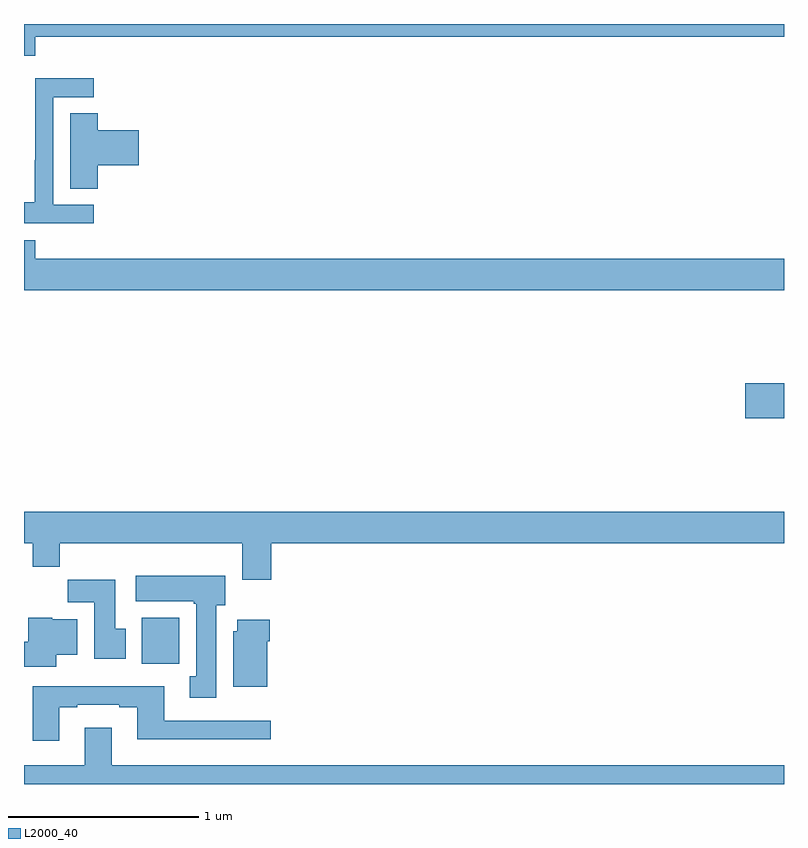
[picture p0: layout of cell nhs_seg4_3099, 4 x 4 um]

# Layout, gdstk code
import gdstk
lib = gdstk.Library(unit=1e-6, precision=1e-09)
def R(c, l, rs):  # rectangles x0, y0, x1, y1
    for r in rs: c.add(gdstk.rectangle(r[:2], r[2:], *l))
def P(c, l, *ps):  # polygons
    for p in ps: c.add(gdstk.Polygon(p, *l))
L2000_40 = (2000, 40)

nhs_seg4_3099 = lib.new_cell('nhs_seg4_3099')
R(nhs_seg4_3099, L2000_40, [(275.621,781.532,275.818,781.774), (278.796,782.825,279,783.008)])
P(nhs_seg4_3099, L2000_40, [(275.06,784.832),(279,784.832),(279,784.9),(275,784.9),(275,784.733),(275.06,784.733)],
  [(275.368,783.948),(275.154,783.948),(275.154,784.515),(275.368,784.515),(275.368,784.614),(275.058,784.614),(275.058,784.184),(275.056,784.184),(275.056,783.961),(275,783.961),(275,783.852),(275.368,783.852)],
  [(275.387,784.157),(275.605,784.157),(275.605,784.34),(275.387,784.34),(275.387,784.43),(275.243,784.43),(275.243,784.033),(275.387,784.033)],
  [(279,783.664),(275.06,783.664),(275.06,783.763),(275,783.763),(275,783.5),(279,783.5)],
  [(276.302,782.168),(279,782.168),(279,782.332),(275,782.332),(275,782.168),(275.045,782.168),(275.045,782.044),(275.189,782.044),(275.189,782.168),(276.149,782.168),(276.149,781.974),(276.302,781.974)],
  [(276.013,781.842),(276.058,781.842),(276.058,781.996),(275.589,781.996),(275.589,781.862),(275.893,781.862),(275.893,781.849),(275.906,781.849),(275.906,781.466),(275.873,781.466),(275.873,781.353),(276.013,781.353)],
  [(275.536,781.716),(275.479,781.716),(275.479,781.975),(275.23,781.975),(275.23,781.856),(275.369,781.856),(275.369,781.56),(275.536,781.56)],
  [(275.17,781.58),(275.281,781.58),(275.281,781.768),(275.148,781.768),(275.148,781.774),(275.023,781.774),(275.023,781.649),(275,781.649),(275,781.516),(275.17,781.516)],
  [(276.28,781.652),(276.293,781.652),(276.293,781.765),(276.122,781.765),(276.122,781.704),(276.101,781.704),(276.101,781.412),(276.28,781.412)],
  [(275.185,781.305),(275.281,781.305),(275.281,781.317),(275.501,781.317),(275.501,781.305),(275.597,781.305),(275.597,781.136),(276.298,781.136),(276.298,781.233),(275.737,781.233),(275.737,781.414),(275.045,781.414),(275.045,781.128),(275.185,781.128)],
  [(279,781),(275.461,781),(275.461,781.195),(275.321,781.195),(275.321,781),(275,781),(275,780.9),(279,780.9)])

lib.write_gds('nhs_seg4_3099.gds')
